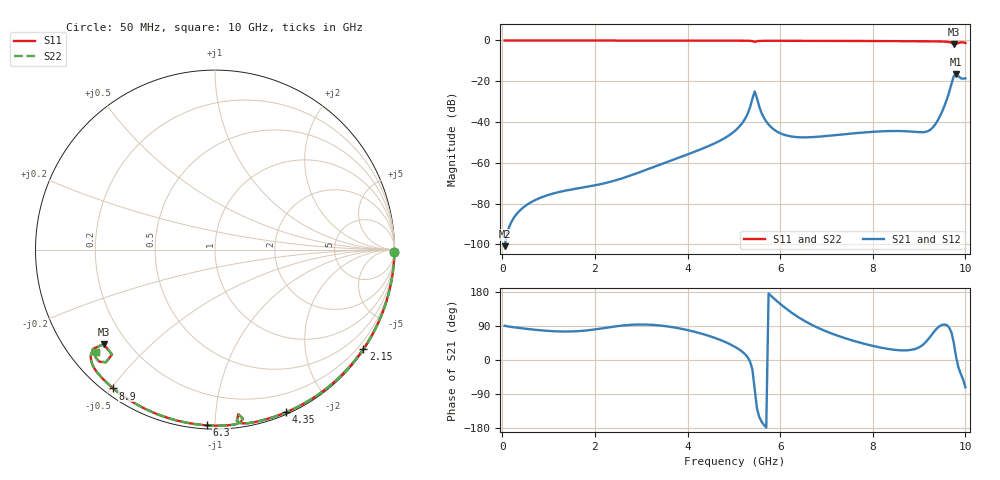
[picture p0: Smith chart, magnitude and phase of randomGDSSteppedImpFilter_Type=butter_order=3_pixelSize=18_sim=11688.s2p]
! freq	dB(S11)	phase(S11)	dB(S12)	phase(S12)
!  dB(S21)	phase(S21)	dB(S22)	phase(S22)
!S-par simulation data
#  GHz  S  DB  R 50
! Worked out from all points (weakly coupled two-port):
!   200 points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, 50 MHz to 10 GHz, reference 50 ohm
!   highest |S21| = -16.39 dB at 9.8 GHz (marker M1); lowest = -100.9 dB at 50 MHz (marker M2)
!   lowest |S11| = -1.8 dB at 9.75 GHz (marker M3), VSWR 9.77, Z = 5.8 - j18.1 ohm
!   |S11| at or under -10 dB: nowhere
!   |S22| runs from -1.8 to 0.0 dB; largest |S21 - S12| = 0
!   S11 on the Smith chart (normalised r, x): 50 MHz: open; 2.15 GHz: 0.03, -3.28; 4.35 GHz: 0.02, -1.53; 6.3 GHz: 0.02, -0.95; 8.9 GHz: 0.03, -0.51; 10 GHz: 0.08, -0.37
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0.05  -0.00 -0.8  -100.91 90.4  -100.91 90.4  -0.00 -0.8
0.55  -0.01 -8.8  -80.33 81.8  -80.33 81.8  -0.01 -8.8
1.75  -0.04 -27.7  -72.10 77.2  -72.10 77.2  -0.04 -27.7
2.15  -0.04 -33.9  -70.35 83.3  -70.35 83.3  -0.04 -33.9
3.4  -0.07 -52.7  -60.96 91.1  -60.96 91.1  -0.07 -52.7
4.35  -0.09 -66.5  -52.80 67.9  -52.80 67.9  -0.09 -66.5
5.05  -0.12 -76.5  -43.81 32.9  -43.81 32.9  -0.12 -76.5
5.3  -0.16 -80.5  -35.82 7.0  -35.82 7.0  -0.16 -80.5
5.45  -0.67 -82.0  -25.04 -75.5  -25.04 -75.5  -0.67 -82.0
5.6  -0.19 -82.7  -35.67 -162.8  -35.67 -162.8  -0.19 -82.7
5.75  -0.16 -85.1  -41.22 175.5  -41.22 175.5  -0.16 -85.1
6  -0.16 -88.7  -45.51 148.2  -45.51 148.2  -0.16 -88.7
6.3  -0.17 -92.7  -47.28 120.5  -47.28 120.5  -0.17 -92.7
6.7  -0.19 -98.0  -47.41 91.7  -47.41 91.7  -0.19 -98.0
8.35  -0.31 -119.1  -44.44 28.8  -44.44 28.8  -0.31 -119.1
8.9  -0.37 -126.2  -44.82 28.6  -44.82 28.6  -0.37 -126.2
9.2  -0.41 -130.4  -44.40 55.1  -44.40 55.1  -0.41 -130.4
9.35  -0.44 -132.7  -41.14 78.7  -41.14 78.7  -0.44 -132.7
9.55  -0.56 -136.6  -31.98 93.6  -31.98 93.6  -0.56 -136.6
9.75  -1.78 -139.7  -17.49 45.0  -17.49 45.0  -1.78 -139.7
9.8  -1.73 -134.5  -16.39 7.5  -16.39 7.5  -1.73 -134.5
10  -1.19 -139.2  -18.56 -71.9  -18.56 -71.9  -1.19 -139.2
